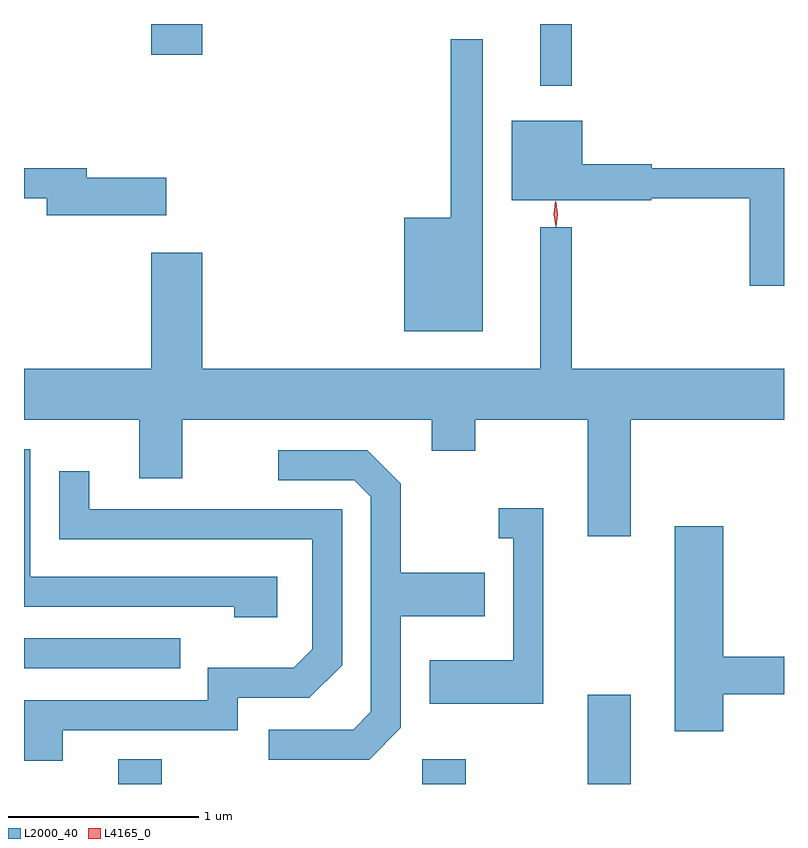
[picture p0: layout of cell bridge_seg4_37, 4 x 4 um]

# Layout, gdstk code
import gdstk
lib = gdstk.Library(unit=1e-6, precision=1e-09)
def R(c, l, rs):  # rectangles x0, y0, x1, y1
    for r in rs: c.add(gdstk.rectangle(r[:2], r[2:], *l))
def P(c, l, *ps):  # polygons
    for p in ps: c.add(gdstk.Polygon(p, *l))
L2000_40 = (2000, 40)
L4165_0 = (4165, 0)

bridge_seg4_37 = lib.new_cell('bridge_seg4_37')
R(bridge_seg4_37, L2000_40, [(1273.841,1374.958,1274.069,1375.089), (1275.441,1374.958,1275.669,1375.089), (1276.311,1374.958,1276.539,1375.429), (1273.345,1375.566,1274.168,1375.724), (1276.061,1378.633,1276.229,1378.958), (1274.016,1378.796,1274.284,1378.958)])
P(bridge_seg4_37, L2000_40, [(1275.759,1378.878),(1275.591,1378.878),(1275.591,1377.939),(1275.346,1377.939),(1275.346,1377.341),(1275.759,1377.341)],
  [(1277.345,1378.199),(1276.649,1378.199),(1276.649,1378.219),(1276.284,1378.219),(1276.284,1378.449),(1275.911,1378.449),(1275.911,1378.031),(1276.645,1378.031),(1276.645,1378.041),(1277.166,1378.041),(1277.166,1377.581),(1277.345,1377.581)],
  [(1274.094,1378.149),(1273.674,1378.149),(1273.674,1378.199),(1273.345,1378.199),(1273.345,1378.041),(1273.466,1378.041),(1273.466,1377.951),(1274.094,1377.951)],
  [(1276.539,1376.876),(1277.345,1376.876),(1277.345,1377.144),(1276.229,1377.144),(1276.229,1377.888),(1276.061,1377.888),(1276.061,1377.144),(1274.284,1377.144),(1274.284,1377.754),(1274.016,1377.754),(1274.016,1377.144),(1273.345,1377.144),(1273.345,1376.876),(1273.951,1376.876),(1273.951,1376.566),(1274.179,1376.566),(1274.179,1376.876),(1275.491,1376.876),(1275.491,1376.711),(1275.719,1376.711),(1275.719,1376.876),(1276.311,1376.876),(1276.311,1376.261),(1276.539,1376.261)],
  [(1274.679,1376.049),(1273.379,1376.049),(1273.379,1376.719),(1273.345,1376.719),(1273.345,1375.891),(1274.451,1375.891),(1274.451,1375.836),(1274.679,1375.836)],
  [(1275.329,1375.254),(1275.329,1375.841),(1275.769,1375.841),(1275.769,1376.069),(1275.329,1376.069),(1275.329,1376.537),(1275.152,1376.714),(1274.683,1376.714),(1274.683,1376.556),(1275.084,1376.556),(1275.171,1376.469),(1275.171,1375.337),(1275.079,1375.244),(1274.633,1375.244),(1274.633,1375.086),(1275.162,1375.086)],
  [(1273.549,1375.241),(1274.469,1375.241),(1274.469,1375.411),(1274.847,1375.411),(1275.019,1375.584),(1275.019,1376.404),(1273.689,1376.404),(1273.689,1376.603),(1273.531,1376.603),(1273.531,1376.246),(1274.861,1376.246),(1274.861,1375.667),(1274.764,1375.569),(1274.311,1375.569),(1274.311,1375.399),(1273.345,1375.399),(1273.345,1375.081),(1273.549,1375.081)],
  [(1276.079,1376.409),(1275.843,1376.409),(1275.843,1376.251),(1275.921,1376.251),(1275.921,1375.609),(1275.481,1375.609),(1275.481,1375.381),(1276.079,1375.381)],
  [(1277.024,1375.431),(1277.345,1375.431),(1277.345,1375.629),(1277.024,1375.629),(1277.024,1376.314),(1276.771,1376.314),(1276.771,1375.236),(1277.024,1375.236)])
P(bridge_seg4_37, L4165_0, [(1276.144,1377.89),(1276.134,1377.958),(1276.142,1378.026),(1276.142,1378.026),(1276.143,1378.026),(1276.154,1377.958),(1276.146,1377.89),(1276.145,1377.89)],
  [(1276.145,1377.893),(1276.144,1377.894),(1276.135,1377.957),(1276.144,1378.021),(1276.144,1378.022),(1276.145,1378.021),(1276.154,1377.957),(1276.146,1377.894)])

lib.write_gds('bridge_seg4_37.gds')
